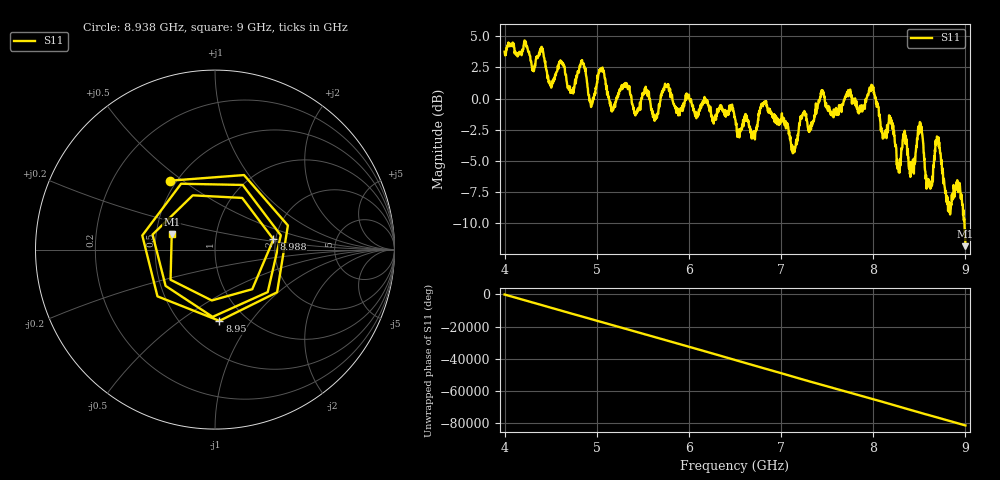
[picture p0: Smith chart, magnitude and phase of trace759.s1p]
! Created with skrf 1.8.0 (http://scikit-rf.org).
# Hz S RI R 50.0
!freq ReS11 ImS11
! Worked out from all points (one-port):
!   1601 points, 4 GHz to 9 GHz, reference 50 ohm
!   lowest |S11| = -11.8 dB at 9 GHz (marker M1), VSWR 1.69, Z = 30.2 + j5.66 ohm
!   |S11| at or under -10 dB: 8.989534 GHz to end of sweep
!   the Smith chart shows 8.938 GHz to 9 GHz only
!   S11 on the Smith chart (normalised r, x): 8.938 GHz: 0.46, +0.45; 8.95 GHz: 0.76, -0.72; 8.988 GHz: 1.95, +0.25; 9 GHz: 0.60, +0.11
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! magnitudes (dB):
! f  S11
! 4 GHz  3.8
! 4.503 GHz  1.0
! 4.625 GHz  2.7
! 4.725 GHz  0.6
! 4.853 GHz  2.8
! 4.941 GHz  -0.6
! 5.05 GHz  2.2
! 5.162 GHz  -0.8
! 5.25 GHz  0.8
! 5.875 GHz  -1.1
! 6.5 GHz  -1.6
! 6.703 GHz  -2.6
! 6.822 GHz  -0.2
! 7.125 GHz  -4.2
! 7.441 GHz  0.7
! 7.75 GHz  0.7
! 7.988 GHz  1.0
! 8.275 GHz  -5.6
! 8.375 GHz  -4.0
! 8.422 GHz  -5.1
! 8.509 GHz  -1.9
! 8.603 GHz  -6.5
! 8.7 GHz  -3.4
! 8.816 GHz  -8.7
! 8.938 GHz  -6.8
! 8.95 GHz  -8.0
! 8.988 GHz  -9.6
! 9 GHz  -11.8
